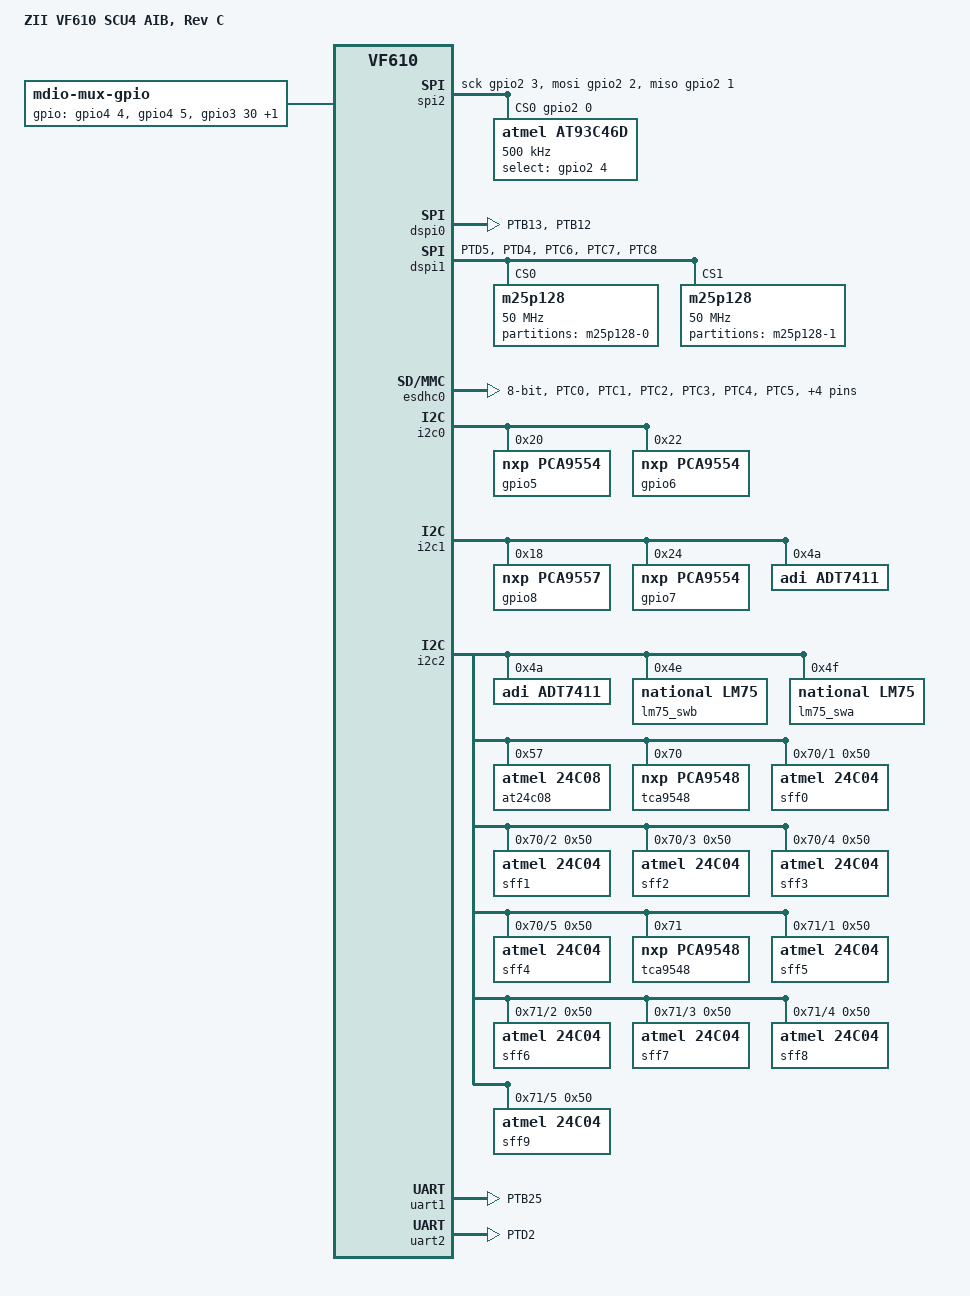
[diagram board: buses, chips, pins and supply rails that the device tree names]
/*
 * Copyright (C) 2015, 2016 Zodiac Inflight Innovations
 *
 * Based on an original 'vf610-twr.dts' which is Copyright 2015,
 * Freescale Semiconductor, Inc.
 *
 * This file is dual-licensed: you can use it either under the terms
 * of the GPL or the X11 license, at your option. Note that this dual
 * licensing only applies to this file, and not this project as a
 * whole.
 *
 *  a) This file is free software; you can redistribute it and/or
 *     modify it under the terms of the GNU General Public License
 *     version 2 as published by the Free Software Foundation.
 *
 *     This file is distributed in the hope that it will be useful
 *     but WITHOUT ANY WARRANTY; without even the implied warranty of
 *     MERCHANTABILITY or FITNESS FOR A PARTICULAR PURPOSE.  See the
 *     GNU General Public License for more details.
 *
 * Or, alternatively
 *
 *  b) Permission is hereby granted, free of charge, to any person
 *     obtaining a copy of this software and associated documentation
 *     files (the "Software"), to deal in the Software without
 *     restriction, including without limitation the rights to use
 *     copy, modify, merge, publish, distribute, sublicense, and/or
 *     sell copies of the Software, and to permit persons to whom the
 *     Software is furnished to do so, subject to the following
 *     conditions:
 *
 *     The above copyright notice and this permission notice shall be
 *     included in all copies or substantial portions of the Software.
 *
 *     THE SOFTWARE IS PROVIDED , WITHOUT WARRANTY OF ANY KIND
 *     EXPRESS OR IMPLIED, INCLUDING BUT NOT LIMITED TO THE WARRANTIES
 *     OF MERCHANTABILITY, FITNESS FOR A PARTICULAR PURPOSE AND
 *     NONINFRINGEMENT. IN NO EVENT SHALL THE AUTHORS OR COPYRIGHT
 *     HOLDERS BE LIABLE FOR ANY CLAIM, DAMAGES OR OTHER LIABILITY
 *     WHETHER IN AN ACTION OF CONTRACT, TORT OR OTHERWISE, ARISING
 *     FROM, OUT OF OR IN CONNECTION WITH THE SOFTWARE OR THE USE OR
 *     OTHER DEALINGS IN THE SOFTWARE.
 */

/dts-v1/;

#include "vf610-zii-dev.dtsi"

/ {
	model = "ZII VF610 SCU4 AIB, Rev C";
	compatible = "zii,vf610scu4-aib-c", "zii,vf610dev", "fsl,vf610";

	chosen {
		bootargs = "console=ttyLP0,115200n8";
	};

	gpio-leds {
		debug {
			gpios = <&gpio3 0 GPIO_ACTIVE_HIGH>;
		};
	};

	mdio-mux {
		compatible = "mdio-mux-gpio";
		pinctrl-0 = <&pinctrl_mdio_mux>;
		pinctrl-names = "default";
		gpios = <&gpio4 4  GPIO_ACTIVE_HIGH
			 &gpio4 5  GPIO_ACTIVE_HIGH
			 &gpio3 30 GPIO_ACTIVE_HIGH
			 &gpio3 31 GPIO_ACTIVE_HIGH>;
		mdio-parent-bus = <&mdio1>;
		#address-cells = <1>;
		#size-cells = <0>;

		mdio_mux_1: mdio@1 {
			reg = <1>;
			#address-cells = <1>;
			#size-cells = <0>;
		};

		mdio_mux_2: mdio@2 {
			reg = <2>;
			#address-cells = <1>;
			#size-cells = <0>;
		};

		mdio_mux_4: mdio@4 {
			reg = <4>;
			#address-cells = <1>;
			#size-cells = <0>;
		};

		mdio_mux_8: mdio@8 {
			reg = <8>;
			#address-cells = <1>;
			#size-cells = <0>;
		};
	};

	spi2 {
		compatible = "spi-gpio";
		pinctrl-0 = <&pinctrl_dspi2>;
		pinctrl-names = "default";
		#address-cells = <1>;
		#size-cells = <0>;

		gpio-sck  = <&gpio2 3 GPIO_ACTIVE_HIGH>;
		gpio-mosi = <&gpio2 2 GPIO_ACTIVE_HIGH>;
		gpio-miso = <&gpio2 1 GPIO_ACTIVE_HIGH>;
		cs-gpios  = <&gpio2 0 GPIO_ACTIVE_HIGH>;
		num-chipselects = <1>;

		at93c46d@0 {
			compatible = "atmel,at93c46d";
			#address-cells = <0>;
			#size-cells = <0>;
			reg = <0>;
			spi-max-frequency = <500000>;
			spi-cs-high;
			data-size = <16>;
			select-gpios = <&gpio2 4 GPIO_ACTIVE_HIGH>;
		};
	};
};

&dspi0 {
	pinctrl-0 = <&pinctrl_dspi0>, <&pinctrl_dspi0_cs_4_5>;
	pinctrl-names = "default";
	status = "okay";
};

&dspi1 {
	pinctrl-names = "default";
	pinctrl-0 = <&pinctrl_dspi1>;
	status = "okay";

	m25p128@0 {
		#address-cells = <1>;
		#size-cells = <1>;
		compatible = "m25p128", "jedec,spi-nor";
		reg = <0>;
		spi-max-frequency = <50000000>;

		partition@0 {
			label = "m25p128-0";
			reg = <0x0 0x01000000>;
		};
	};

	m25p128@1 {
		#address-cells = <1>;
		#size-cells = <1>;
		compatible = "m25p128", "jedec,spi-nor";
		reg = <1>;
		spi-max-frequency = <50000000>;

		partition@0 {
			label = "m25p128-1";
			reg = <0x0 0x01000000>;
		};
	};
};

&esdhc0 {
	pinctrl-names = "default";
	pinctrl-0 = <&pinctrl_esdhc0>;
	bus-width = <8>;
	status = "okay";
};

&fec0 {
	status = "disabled";
};

&i2c0 {
	/* Reset Signals */
	gpio5: pca9505@20 {
		compatible = "nxp,pca9554";
		reg = <0x20>;
		gpio-controller;
		#gpio-cells = <2>;
	};

	/* Board Revision */
	gpio6: pca9505@22 {
		compatible = "nxp,pca9554";
		reg = <0x22>;
		gpio-controller;
		#gpio-cells = <2>;
	};
};

&i2c1 {
	/* Wireless 2 */
	gpio8: pca9554@18 {
		compatible = "nxp,pca9557";
		reg = <0x18>;
		gpio-controller;
		#gpio-cells = <2>;
	};

	/* Wireless 1 */
	gpio7: pca9554@24 {
		compatible = "nxp,pca9554";
		reg = <0x24>;
		gpio-controller;
		#gpio-cells = <2>;
	};

	/* AIB voltage monitor */
	adt7411@4a {
		compatible = "adi,adt7411";
		reg = <0x4a>;
	};
};

&i2c2 {
	/* FIB voltage monitor */
	adt7411@4a {
		compatible = "adi,adt7411";
		reg = <0x4a>;
	};

        lm75_swb {
                compatible = "national,lm75";
                reg = <0x4e>;
        };

	lm75_swa {
                compatible = "national,lm75";
                reg = <0x4f>;
        };

	/* FIB Nameplate */
	at24c08@57 {
		compatible = "atmel,24c08";
		reg = <0x57>;
	};

	tca9548@70 {
		compatible = "nxp,pca9548";
		#address-cells = <1>;
		#size-cells = <0>;
		reg = <0x70>;

		i2c@1 {
			#address-cells = <1>;
			#size-cells = <0>;
			reg = <1>;

			sff0: at24c04@50 {
				compatible = "atmel,24c04";
				reg = <0x50>;
			};
		};

		i2c@2 {
			#address-cells = <1>;
			#size-cells = <0>;
			reg = <2>;

			sff1: at24c04@50 {
				compatible = "atmel,24c04";
				reg = <0x50>;
			};
		};

		i2c@3 {
			#address-cells = <1>;
			#size-cells = <0>;
			reg = <3>;

			sff2: at24c04@50 {
				compatible = "atmel,24c04";
				reg = <0x50>;
			};
		};

		i2c@4 {
			#address-cells = <1>;
			#size-cells = <0>;
			reg = <4>;

			sff3: at24c04@50 {
				compatible = "atmel,24c04";
				reg = <0x50>;
			};
		};

		i2c@5 {
			#address-cells = <1>;
			#size-cells = <0>;
			reg = <5>;

			sff4: at24c04@50 {
				compatible = "atmel,24c04";
				reg = <0x50>;
			};
		};
	};


	tca9548@71 {
		compatible = "nxp,pca9548";
		reg = <0x71>;
		#address-cells = <1>;
		#size-cells = <0>;

		i2c@1 {
			#address-cells = <1>;
			#size-cells = <0>;
			reg = <1>;

			sff5: at24c04@50 {
				compatible = "atmel,24c04";
				reg = <0x50>;
			};
		};

		i2c@2 {
			#address-cells = <1>;
			#size-cells = <0>;
			reg = <2>;

			sff6: at24c04@50 {
				compatible = "atmel,24c04";
				reg = <0x50>;
			};
		};

		i2c@3 {
			#address-cells = <1>;
			#size-cells = <0>;
			reg = <3>;

			sff7: at24c04@50 {
				compatible = "atmel,24c04";
				reg = <0x50>;
			};

		};

		i2c@4 {
			#address-cells = <1>;
			#size-cells = <0>;
			reg = <4>;

			sff8: at24c04@50 {
				compatible = "atmel,24c04";
				reg = <0x50>;
			};
		};

		i2c@5 {
			#address-cells = <1>;
			#size-cells = <0>;
			reg = <5>;

			sff9: at24c04@50 {
				compatible = "atmel,24c04";
				reg = <0x50>;
			};
		};
	};
};

&uart1 {
	linux,rs485-enabled-at-boot-time;
	pinctrl-0 = <&pinctrl_uart1>, <&pinctrl_uart1_rts>;
};

&uart2 {
	linux,rs485-enabled-at-boot-time;
	pinctrl-0 = <&pinctrl_uart2>, <&pinctrl_uart2_rts>;
};

&iomuxc {
	pinctrl-names = "default";
	pinctrl-0 = <&pinctrl_gpo_public>;


	pinctrl_gpo_public: gpopubgrp {
		fsl,pins = <
			VF610_PAD_PTE2__GPIO_107		0x2062
			VF610_PAD_PTE3__GPIO_108		0x2062
			VF610_PAD_PTE4__GPIO_109		0x2062
			VF610_PAD_PTE5__GPIO_110		0x2062
			VF610_PAD_PTE6__GPIO_111		0x2062
		>;
	};

	pinctrl_dspi0_cs_4_5: dspi0grp-cs-4-5 {
		fsl,pins = <
			VF610_PAD_PTB13__DSPI0_CS4		0x1182
			VF610_PAD_PTB12__DSPI0_CS5		0x1182
		>;
	};

	pinctrl_dspi1: dspi1grp {
		fsl,pins = <
			VF610_PAD_PTD5__DSPI1_CS0		0x1182
			VF610_PAD_PTD4__DSPI1_CS1		0x1182
			VF610_PAD_PTC6__DSPI1_SIN		0x1181
			VF610_PAD_PTC7__DSPI1_SOUT		0x1182
			VF610_PAD_PTC8__DSPI1_SCK		0x1182
		>;
	};

	pinctrl_esdhc0: esdhc0grp {
		fsl,pins = <
			VF610_PAD_PTC0__ESDHC0_CLK	 0x31ef
			VF610_PAD_PTC1__ESDHC0_CMD	 0x31ef
			VF610_PAD_PTC2__ESDHC0_DAT0	 0x31ef
			VF610_PAD_PTC3__ESDHC0_DAT1	 0x31ef
			VF610_PAD_PTC4__ESDHC0_DAT2	 0x31ef
			VF610_PAD_PTC5__ESDHC0_DAT3	 0x31ef
			VF610_PAD_PTD23__ESDHC0_DAT4 0x31ef
			VF610_PAD_PTD22__ESDHC0_DAT5 0x31ef
			VF610_PAD_PTD21__ESDHC0_DAT6 0x31ef
			VF610_PAD_PTD20__ESDHC0_DAT7 0x31ef
		>;
	};

	pinctrl_i2c3: i2c3grp {
		fsl,pins = <
			VF610_PAD_PTA30__I2C3_SCL		0x37ff
			VF610_PAD_PTA31__I2C3_SDA		0x37ff
		>;
	};

	pinctrl_leds_debug: pinctrl-leds-debug {
		fsl,pins = <
			VF610_PAD_PTB26__GPIO_96		0x31c2
		>;
	};

	pinctrl_uart1_rts: uart1grp-rts {
		fsl,pins = <
			VF610_PAD_PTB25__UART1_RTS		0x2062
		>;
	};

	pinctrl_uart2_rts: uart2grp-rts {
		fsl,pins = <
			VF610_PAD_PTD2__UART2_RTS		0x2062
		>;
	};

	pinctrl_mdio_mux: pinctrl-mdio-mux {
		fsl,pins = <
			VF610_PAD_PTE27__GPIO_132	0x31c2
			VF610_PAD_PTE28__GPIO_133	0x31c2
			VF610_PAD_PTE21__GPIO_126	0x31c2
			VF610_PAD_PTE22__GPIO_127	0x31c2
		>;
	};
};
